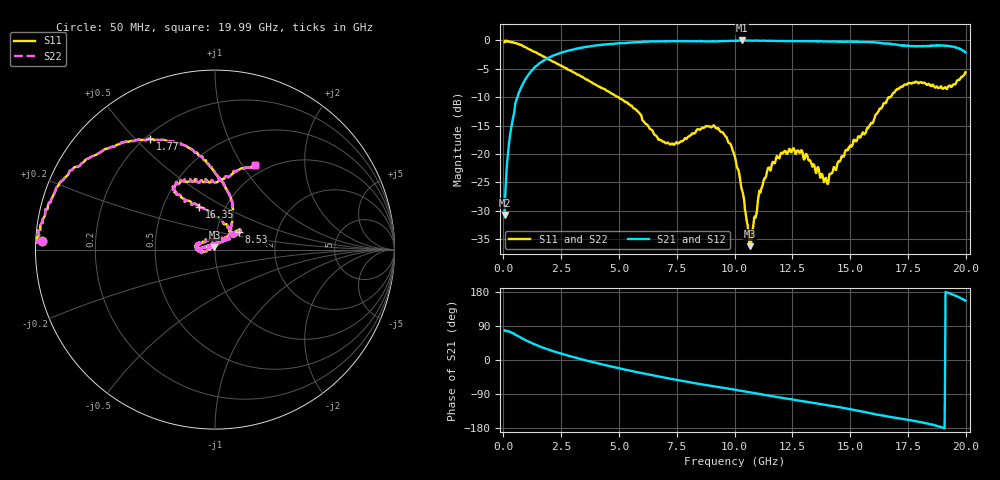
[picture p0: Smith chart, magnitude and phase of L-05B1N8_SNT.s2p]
! Data Taken on a HP 8720C VNA using a shunt-through fixture with TRL* de-embedding
#	mhz	s	ma	r	50
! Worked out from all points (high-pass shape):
!   998 points, 50 MHz to 19.99 GHz, reference 50 ohm
!   highest |S21| = 0.00 dB at 10.31 GHz (marker M1); lowest = -30.7 dB at 50 MHz (marker M2)
!   |S21| within 3 dB of the highest: 1.959 GHz to end of sweep
!   lowest |S11| = -36.2 dB at 10.65 GHz (marker M3), VSWR 1.03, Z = 49.7 + j1.5 ohm
!   |S11| at or under -10 dB: 4.975 GHz to 16.67 GHz (11.69 GHz wide, 108 % of centre); 16.67675 GHz to 16.73311 GHz (56.36 MHz wide, 0.337 % of centre)
!   |S22| runs from -36.2 to 0.0 dB; largest |S21 - S12| = 0
!   S11 on the Smith chart (normalised r, x): 50 MHz: 0.02, +0.02; 1.77 GHz: 0.22, +0.55; 8.53 GHz: 1.28, +0.25; 16.35 GHz: 0.75, +0.38; 19.99 GHz: 0.88, +1.15
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50  0.9662 177.2  0.02904 78.3  0.02904 78.3  0.9662 177.2
250  0.9716 171.2  0.1288 75.0  0.1288 75.0  0.9716 171.2
570  0.9424 157.5  0.3039 65.3  0.3039 65.3  0.9424 157.5
1770  0.7146 120.4  0.6726 31.0  0.6726 31.0  0.7146 120.4
3390  0.4781 94.2  0.8636 1.8  0.8636 1.8  0.4781 94.2
6710  0.134 49.5  0.9805 -43.2  0.9805 -43.2  0.134 49.5
8530  0.1656 35.6  0.9897 -63.6  0.9897 -63.6  0.1656 35.6
9510  0.1536 41.0  0.9837 -73.4  0.9837 -73.4  0.1536 41.0
10030  0.0924 49.7  0.9932 -78.4  0.9932 -78.4  0.0924 49.7
10310  0.04914 52.5  0.9994 -81.7  0.9994 -81.7  0.04914 52.5
10650  0.01546 102.0  0.9969 -85.2  0.9969 -85.2  0.01546 102.0
11110  0.04586 -170.0  0.994 -90.0  0.994 -90.0  0.04586 -170.0
11830  0.09612 -174.7  0.9882 -97.7  0.9882 -97.7  0.09612 -174.7
13350  0.0814 151.9  0.9846 -112.8  0.9846 -112.8  0.0814 151.9
14010  0.05588 90.1  0.9762 -119.1  0.9762 -119.1  0.05588 90.1
15350  0.1428 53.7  0.9729 -134.0  0.9729 -134.0  0.1428 53.7
16350  0.252 110.8  0.9471 -145.9  0.9471 -145.9  0.252 110.8
16670  0.3166 120.9  0.9364 -149.3  0.9364 -149.3  0.3166 120.9
17890  0.4314 120.2  0.8851 -162.2  0.8851 -162.2  0.4314 120.2
19190  0.3737 89.1  0.8959 178.2  0.8959 178.2  0.3737 89.1
19210  0.3777 87.9  0.8971 177.8  0.8971 177.8  0.3777 87.9
19990  0.5242 64.6  0.7857 156.8  0.7857 156.8  0.5242 64.6
